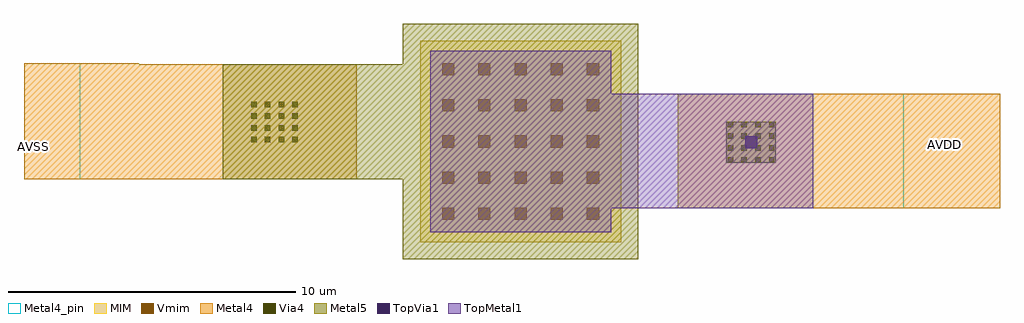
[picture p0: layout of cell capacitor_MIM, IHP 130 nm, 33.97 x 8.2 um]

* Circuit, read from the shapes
.subckt capacitor_MIM AVDD AVSS
XC1 AVDD AVSS cap_cmim w=7u l=7u
.ends

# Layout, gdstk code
import gdstk
lib = gdstk.Library(unit=1e-6, precision=1e-09)
def R(c, l, rs):  # rectangles x0, y0, x1, y1
    for r in rs: c.add(gdstk.rectangle(r[:2], r[2:], *l))
def A(c, l, x, y, w, h, nx, ny, dx, dy):  # array of equal rectangles
    R(c, l, [(x+i*dx, y+j*dy, x+i*dx+w, y+j*dy+h) for i in range(nx) for j in range(ny)])
MIM = (36, 0)
Metal4 = (50, 0)
Metal4_pin = (50, 2)
Via4 = (66, 0)
Metal5 = (67, 0)
TopVia1 = (125, 0)
TopMetal1 = (126, 0)
Vmim = (129, 0)

cmim = lib.new_cell('cmim')
R(cmim, MIM, [(0,0,7,7)])
R(cmim, Metal5, [(-0.6,-0.6,7.6,7.6)])
R(cmim, TopMetal1, [(0.35,0.35,6.65,6.65)])
A(cmim, Vmim, 0.77, 0.77, 0.42, 0.42, 5, 5, 1.26, 1.26)

via_stack = lib.new_cell('via_stack')
R(via_stack, Metal4, [(-0.865,-0.715,0.865,0.715)])
A(via_stack, Via4, -0.815, -0.71, 0.19, 0.19, 4, 4, 0.48, 0.41)
R(via_stack, Metal5, [(-0.865,-0.715,0.865,0.715)])
R(via_stack, TopVia1, [(-0.21,-0.21,0.21,0.21)])
R(via_stack, TopMetal1, [(-0.82,-0.82,0.82,0.82)])

via_stack_1 = lib.new_cell('via_stack$1')
R(via_stack_1, Metal4, [(-0.865,-0.715,0.865,0.715)])
A(via_stack_1, Via4, -0.815, -0.71, 0.19, 0.19, 4, 4, 0.48, 0.41)
R(via_stack_1, Metal5, [(-0.865,-0.715,0.865,0.715)])

capacitor_mim = lib.new_cell('capacitor_MIM')
R(capacitor_mim, Metal4_pin, [(16.815,1.175,20.185,5.17), (-13.785,2.185,-11.825,6.22)])
capacitor_mim.add(gdstk.FlexPath([(10.965,3.17),(18.185,3.17)], 4, ends="extended", simple_path=True, layer=50, datatype=0))  # Metal4
capacitor_mim.add(gdstk.FlexPath([(-4.2,4.185),(-11.785,4.185),(-11.785,4.22)], 4, ends="extended", simple_path=True, layer=50, datatype=0))  # Metal4
capacitor_mim.add(gdstk.FlexPath([(1.96,4.185),(-4.875,4.185)], 4, ends="extended", simple_path=True, layer=67, datatype=0))  # Metal5
capacitor_mim.add(gdstk.FlexPath([(5.37,3.17),(11.685,3.17)], 4, ends="extended", simple_path=True, layer=126, datatype=0))  # TopMetal1
capacitor_mim.add(gdstk.Reference(cmim, (0,0)))
capacitor_mim.add(gdstk.Reference(via_stack, (11.52,3.48)))
capacitor_mim.add(gdstk.Reference(via_stack_1, (-5.065,4.18)))
capacitor_mim.add(gdstk.Label('AVDD', (18.26,3.395), layer=50, texttype=25))
capacitor_mim.add(gdstk.Label('AVSS', (-13.45,3.32), layer=50, texttype=25))

lib.write_gds('capacitor_MIM.gds')
